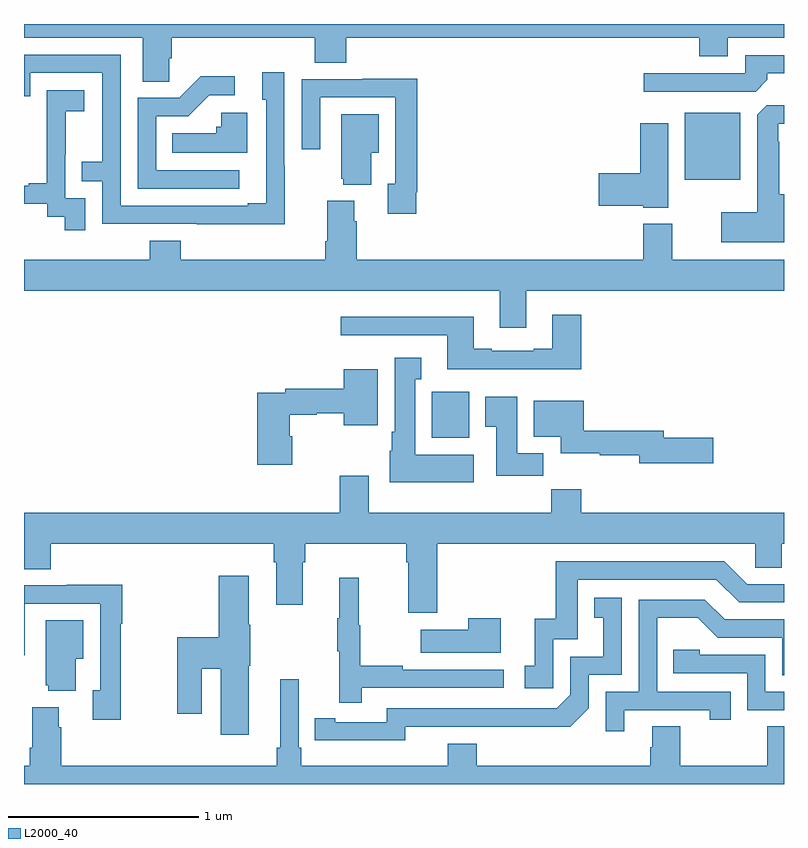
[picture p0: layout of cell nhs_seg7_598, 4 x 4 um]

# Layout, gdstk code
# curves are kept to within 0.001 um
import gdstk
lib = gdstk.Library(unit=1e-6, precision=1e-09)
def R(c, l, rs):  # rectangles x0, y0, x1, y1
    for r in rs: c.add(gdstk.rectangle(r[:2], r[2:], *l))
def P(c, l, *ps):  # polygons
    for p in ps: c.add(gdstk.Polygon(p, *l))
L2000_40 = (2000, 40)

nhs_seg7_598 = lib.new_cell('nhs_seg7_598')
R(nhs_seg7_598, L2000_40, [(159.146,1019.822,159.343,1020.064), (160.478,1021.181,160.771,1021.534)])
P(nhs_seg7_598, L2000_40, [(157.764,1021.819),(157.778,1021.819),(157.778,1021.928),(158.531,1021.928),(158.531,1021.795),(158.696,1021.795),(158.696,1021.928),(160.553,1021.928),(160.553,1021.829),(160.705,1021.829),(160.705,1021.928),(161,1021.928),(161,1022),(157,1022),(157,1021.928),(157.625,1021.928),(157.625,1021.696),(157.764,1021.696)],
  [(158.373,1021.253),(158.37,1021.253),(158.37,1021.747),(158.255,1021.747),(158.255,1021.602),(158.274,1021.602),(158.274,1021.057),(158.177,1021.057),(158.177,1021.044),(157.509,1021.044),(157.509,1021.839),(157,1021.839),(157,1021.62),(157.032,1021.62),(157.032,1021.743),(157.413,1021.743),(157.413,1021.274),(157.303,1021.274),(157.303,1021.173),(157.413,1021.173),(157.413,1020.948),(157.909,1020.948),(157.909,1020.947),(158.373,1020.947)],
  [(160.913,1021.706),(160.913,1021.74),(161,1021.74),(161,1021.836),(160.797,1021.836),(160.797,1021.74),(160.263,1021.74),(160.263,1021.644),(160.851,1021.644)],
  [(158.134,1021.23),(157.695,1021.23),(157.695,1021.515),(157.864,1021.515),(157.975,1021.626),(158.11,1021.626),(158.11,1021.724),(157.931,1021.724),(157.818,1021.611),(157.599,1021.611),(157.599,1021.134),(158.134,1021.134)],
  [(159.064,1021.114),(159.071,1021.114),(159.071,1021.712),(158.779,1021.712),(158.779,1021.71),(158.463,1021.71),(158.463,1021.341),(158.559,1021.341),(158.559,1021.614),(158.955,1021.614),(158.955,1021.158),(158.915,1021.158),(158.915,1021.002),(159.064,1021.002)],
  [(157.323,1021.083),(157.218,1021.083),(157.218,1021.313),(157.22,1021.313),(157.22,1021.541),(157.318,1021.541),(157.318,1021.651),(157.12,1021.651),(157.12,1021.445),(157.121,1021.445),(157.121,1021.162),(157.025,1021.162),(157.025,1021.149),(157,1021.149),(157,1021.053),(157.122,1021.053),(157.122,1020.985),(157.215,1020.985),(157.215,1020.915),(157.323,1020.915)],
  [(161,1021.105),(160.975,1021.105),(160.975,1021.379),(160.971,1021.379),(160.971,1021.476),(161,1021.476),(161,1021.572),(160.908,1021.572),(160.859,1021.523),(160.859,1021.009),(160.671,1021.009),(160.671,1020.851),(161,1020.851)],
  [(158.176,1021.534),(158.037,1021.534),(158.037,1021.458),(158.011,1021.458),(158.011,1021.426),(157.78,1021.426),(157.78,1021.322),(158.176,1021.322)],
  [(158.827,1021.322),(158.866,1021.322),(158.866,1021.525),(158.669,1021.525),(158.669,1021.185),(158.681,1021.185),(158.681,1021.154),(158.827,1021.154)],
  [(160.39,1021.477),(160.244,1021.477),(160.244,1021.214),(160.026,1021.214),(160.026,1021.043),(160.26,1021.043),(160.26,1021.034),(160.39,1021.034)],
  [(159.643,1020.596),(161,1020.596),(161,1020.76),(160.411,1020.76),(160.411,1020.949),(160.259,1020.949),(160.259,1020.76),(158.75,1020.76),(158.75,1020.962),(158.737,1020.962),(158.737,1021.069),(158.597,1021.069),(158.597,1020.856),(158.585,1020.856),(158.585,1020.76),(157.826,1020.76),(157.826,1020.859),(157.661,1020.859),(157.661,1020.76),(157,1020.76),(157,1020.596),(159.503,1020.596),(159.503,1020.402),(159.643,1020.402)],
  [(159.932,1020.469),(159.779,1020.469),(159.779,1020.292),(159.683,1020.292),(159.683,1020.279),(159.463,1020.279),(159.463,1020.292),(159.367,1020.292),(159.367,1020.46),(158.667,1020.46),(158.667,1020.363),(159.227,1020.363),(159.227,1020.182),(159.932,1020.182)],
  [(159.367,1019.734),(159.058,1019.734),(159.058,1020.131),(159.091,1020.131),(159.091,1020.244),(158.951,1020.244),(158.951,1019.854),(158.936,1019.854),(158.936,1019.754),(158.924,1019.754),(158.924,1019.588),(159.367,1019.588)],
  [(158.411,1019.829),(158.398,1019.829),(158.398,1019.944),(158.541,1019.944),(158.541,1019.952),(158.684,1019.952),(158.684,1019.888),(158.863,1019.888),(158.863,1020.184),(158.684,1020.184),(158.684,1020.08),(158.374,1020.08),(158.374,1020.06),(158.228,1020.06),(158.228,1019.679),(158.411,1019.679)],
  [(159.734,1019.74),(159.595,1019.74),(159.595,1020.037),(159.428,1020.037),(159.428,1019.881),(159.485,1019.881),(159.485,1019.622),(159.734,1019.622)],
  [(160.627,1019.822),(160.366,1019.822),(160.366,1019.858),(159.947,1019.858),(159.947,1020.016),(159.683,1020.016),(159.683,1019.828),(159.824,1019.828),(159.824,1019.741),(160.03,1019.741),(160.03,1019.73),(160.238,1019.73),(160.238,1019.687),(160.627,1019.687)],
  [(159.176,1019.264),(160.848,1019.264),(160.848,1019.137),(160.987,1019.137),(160.987,1019.264),(161,1019.264),(161,1019.428),(159.932,1019.428),(159.932,1019.552),(159.775,1019.552),(159.775,1019.428),(158.815,1019.428),(158.815,1019.623),(158.663,1019.623),(158.663,1019.428),(157,1019.428),(157,1019.131),(157.142,1019.131),(157.142,1019.264),(158.315,1019.264),(158.315,1019.168),(158.327,1019.168),(158.327,1018.944),(158.467,1018.944),(158.467,1019.168),(158.48,1019.168),(158.48,1019.264),(159.011,1019.264),(159.011,1019.168),(159.023,1019.168),(159.023,1018.902),(159.176,1018.902)],
  [(159.786,1018.761),(159.915,1018.761),(159.915,1019.076),(160.644,1019.076),(160.764,1018.956),(161,1018.956),(161,1019.052),(160.806,1019.052),(160.686,1019.172),(159.799,1019.172),(159.799,1018.87),(159.689,1018.87),(159.689,1018.623),(159.636,1018.623),(159.636,1018.503),(159.786,1018.503)],
  [(158.182,1018.623),(158.19,1018.623),(158.19,1018.837),(158.182,1018.837),(158.182,1019.095),(158.024,1019.095),(158.024,1018.772),(157.807,1018.772),(157.807,1018.371),(157.936,1018.371),(157.936,1018.607),(158.036,1018.607),(158.036,1018.26),(158.182,1018.26)],
  [(158.777,1018.506),(159.526,1018.506),(159.526,1018.602),(158.993,1018.602),(158.993,1018.622),(158.77,1018.622),(158.77,1018.836),(158.762,1018.836),(158.762,1019.086),(158.66,1019.086),(158.66,1018.873),(158.649,1018.873),(158.649,1018.699),(158.66,1018.699),(158.66,1018.428),(158.777,1018.428)],
  [(157.51,1018.843),(157.517,1018.843),(157.517,1019.048),(157.225,1019.048),(157.225,1019.046),(157,1019.046),(157,1018.677),(157.005,1018.677),(157.005,1018.95),(157.401,1018.95),(157.401,1018.494),(157.361,1018.494),(157.361,1018.338),(157.51,1018.338)],
  [(159.006,1018.302),(159.874,1018.301),(159.972,1018.398),(159.972,1018.575),(160.146,1018.575),(160.146,1018.981),(160,1018.981),(160,1018.875),(160.049,1018.875),(160.049,1018.671),(159.876,1018.671),(159.876,1018.47),(159.804,1018.398),(158.91,1018.398),(158.91,1018.326),(158.638,1018.326),(158.638,1018.346),(158.53,1018.346),(158.53,1018.23),(159.006,1018.229)],
  [(160.159,1018.389),(160.61,1018.389),(160.61,1018.338),(160.721,1018.338),(160.721,1018.485),(160.332,1018.485),(160.332,1018.874),(160.546,1018.874),(160.65,1018.77),(160.992,1018.77),(160.992,1018.572),(161,1018.572),(161,1018.866),(160.687,1018.866),(160.582,1018.971),(160.236,1018.971),(160.236,1018.485),(160.062,1018.485),(160.062,1018.278),(160.159,1018.278)],
  [(159.508,1018.873),(159.338,1018.873),(159.338,1018.813),(159.089,1018.813),(159.089,1018.691),(159.508,1018.691)],
  [(157.273,1018.658),(157.312,1018.658),(157.312,1018.861),(157.115,1018.861),(157.115,1018.521),(157.127,1018.521),(157.127,1018.49),(157.273,1018.49)],
  [(161,1018.485),(160.902,1018.485),(160.902,1018.68),(160.557,1018.68),(160.557,1018.707),(160.417,1018.707),(160.417,1018.584),(160.806,1018.584),(160.806,1018.389),(161,1018.389)],
  [(159.23,1018.096),(158.459,1018.096),(158.459,1018.192),(158.445,1018.192),(158.445,1018.552),(158.348,1018.552),(158.348,1018.192),(158.329,1018.192),(158.329,1018.096),(157.196,1018.096),(157.196,1018.298),(157.183,1018.298),(157.183,1018.405),(157.043,1018.405),(157.043,1018.192),(157.031,1018.192),(157.031,1018.096),(157,1018.096),(157,1018),(161,1018),(161,1018.304),(160.912,1018.304),(160.912,1018.096),(160.455,1018.096),(160.455,1018.304),(160.307,1018.304),(160.307,1018.194),(160.295,1018.194),(160.295,1018.096),(159.383,1018.096),(159.383,1018.213),(159.23,1018.213)])

lib.write_gds('nhs_seg7_598.gds')
